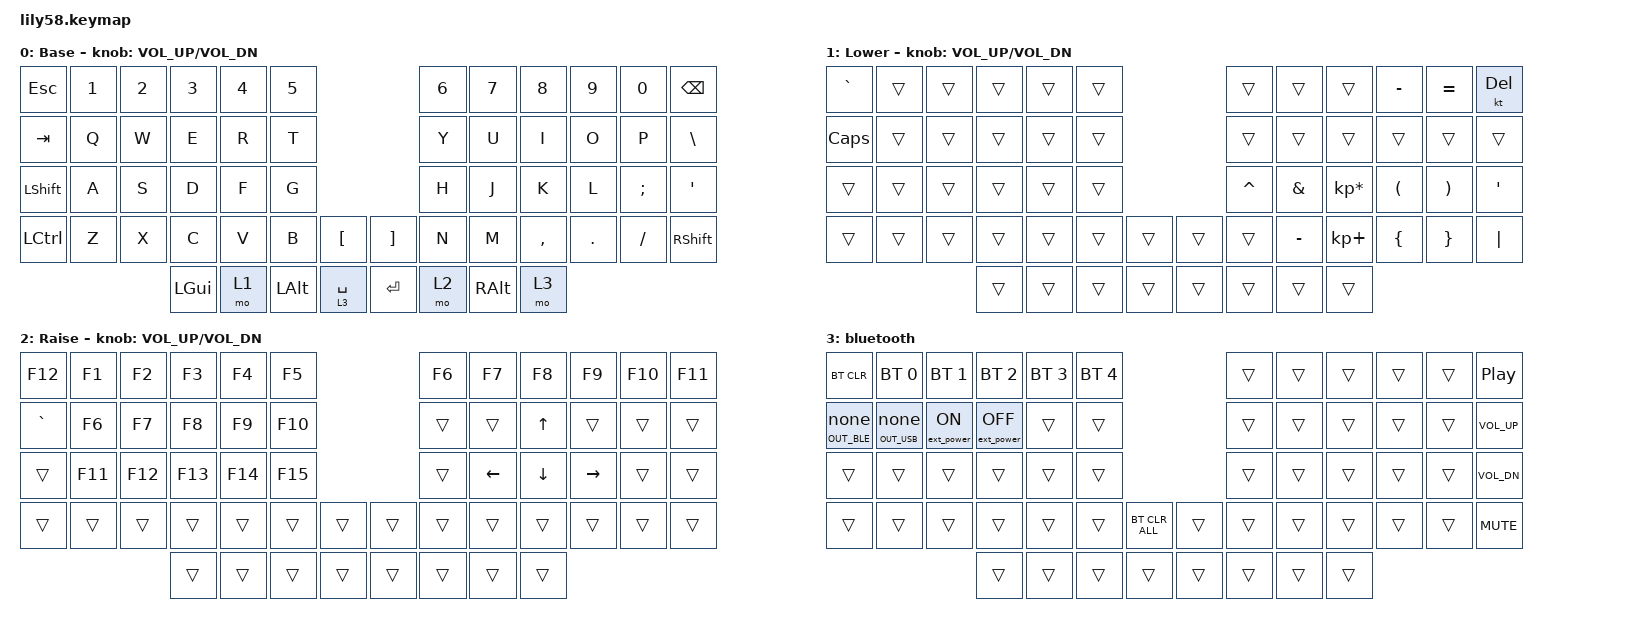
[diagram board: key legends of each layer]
/*
 * Copyright (c) 2020 The ZMK Contributors
 *
 * SPDX-License-Identifier: MIT
 */

#include <behaviors.dtsi>
#include <dt-bindings/zmk/bt.h>
#include <dt-bindings/zmk/ext_power.h>
#include <dt-bindings/zmk/keys.h>
#include <dt-bindings/zmk/keys.h>
#include <dt-bindings/zmk/outputs.h>

/ {
    behaviors {
        Change_Output: Change_Output {
            compatible = "zmk,behavior-hold-tap";
            label = "CHANGE_OUTPUT";
            bindings = <&out>, <&none>;

            #binding-cells = <2>;
            hold-trigger-key-positions = <42 43>;
            tapping-term-ms = <40>;
        };
    };

    keymap {
        compatible = "zmk,keymap";

        default_layer {
            // ------------------------------------------------------------------------------------------------------------
            // |  ESC  |  1  |  2  |  3   |  4   |  5   |                   |  6   |  7    |  8    |  9   |   0   |   `   |
            // |  TAB  |  Q  |  W  |  E   |  R   |  T   |                   |  Y   |  U    |  I    |  O   |   P   |   -   |
            // |  CTRL |  A  |  S  |  D   |  F   |  G   |                   |  H   |  J    |  K    |  L   |   ;   |   '   |
            // | SHIFT |  Z  |  X  |  C   |  V   |  B   |   "["  |  |  "]"  |  N   |  M    |  ,    |  .   |   /   | SHIFT |
            //                     | ALT  | GUI  | LOWER|  SPACE |  | ENTER | RAISE| BSPC  | GUI   |

            display-name = "Base";
            bindings = <
&kp ESCAPE      &kp N1  &kp N2  &kp N3        &kp N4  &kp N5                                 &kp N6  &kp N7         &kp N8     &kp N9   &kp N0    &kp BACKSPACE
&kp TAB         &kp Q   &kp W   &kp E         &kp R   &kp T                                  &kp Y   &kp U          &kp I      &kp O    &kp P     &kp BACKSLASH
&kp LEFT_SHIFT  &kp A   &kp S   &kp D         &kp F   &kp G                                  &kp H   &kp J          &kp K      &kp L    &kp SEMI  &kp APOS
&kp LCTRL       &kp Z   &kp X   &kp C         &kp V   &kp B         &kp LBKT       &kp RBKT  &kp N   &kp M          &kp COMMA  &kp DOT  &kp FSLH  &kp RSHFT
                                &kp LEFT_GUI  &mo 1   &kp LEFT_ALT  &lt 3 SPACE    &kp RET   &mo 2   &kp RIGHT_ALT  &mo 3
            >;

            sensor-bindings = <&inc_dec_kp C_VOL_UP C_VOL_DN>;
        };

        lower_layer {
            // ------------------------------------------------------------------------------------------------------------
            // | BTCLR | BT1 | BT2 |  BT3 |  BT4 |  BT5 |                   |      |       |       |      |       |       |
            // |  F1   |  F2 |  F3 |  F4  |  F5  |  F6  |                   |  F7  |  F8   |  F9   |  F10 |  F11  |  F12  |
            // |   `   |  !  |  @  |  #   |  $   |  %   |                   |  ^   |  &    |  *    |  (   |   )   |   ~   |
            // |       |     |     |      |      |      |        |  |       |      |  _    |  +    |  {   |   }   |  "|"  |
            //                     |      |      |      |        |  |       |      |       |       |

            display-name = "Lower";
            bindings = <
&kp GRAVE     &trans  &trans  &trans  &trans  &trans                    &trans     &trans     &trans           &kp MINUS  &kp EQUAL  &kt DEL
&kp CAPSLOCK  &trans  &trans  &trans  &trans  &trans                    &trans     &trans     &trans           &trans     &trans     &trans
&trans        &trans  &trans  &trans  &trans  &trans                    &kp CARET  &kp AMPS   &kp KP_MULTIPLY  &kp LPAR   &kp RPAR   &kp APOS
&trans        &trans  &trans  &trans  &trans  &trans  &trans    &trans  &trans     &kp MINUS  &kp KP_PLUS      &kp LBRC   &kp RBRC   &kp PIPE
                              &trans  &trans  &trans  &trans    &trans  &trans     &trans     &trans
            >;

            sensor-bindings = <&inc_dec_kp C_VOL_UP C_VOL_DN>;
        };

        raise_layer {
            // ------------------------------------------------------------------------------------------------------------
            // |       |     |     |      |      |      |                   |      |       |       |      |       |       |
            // |   `   |  1  |  2  |  3   |  4   |  5   |                   |  6   |   7   |   8   |  9   |   0   |       |
            // |   F1  |  F2 |  F3 |  F4  |  F5  |  F6  |                   |      |   <-  |   v   |  ^   |  ->   |       |
            // |   F7  |  F8 |  F9 |  F10 |  F11 |  F12 |        |  |       |  +   |   -   |   =   |  [   |   ]   |   \   |
            //                     |      |      |      |        |  |       |      |       |       |

            display-name = "Raise";
            bindings = <
&kp F12    &kp F1   &kp F2   &kp F3   &kp F4   &kp F5                     &kp F6  &kp F7    &kp F8        &kp F9     &kp F10  &kp F11
&kp GRAVE  &kp F6   &kp F7   &kp F8   &kp F9   &kp F10                    &trans  &trans    &kp UP_ARROW  &trans     &trans   &trans
&trans     &kp F11  &kp F12  &kp F13  &kp F14  &kp F15                    &trans  &kp LEFT  &kp DOWN      &kp RIGHT  &trans   &trans
&trans     &trans   &trans   &trans   &trans   &trans   &trans    &trans  &trans  &trans    &trans        &trans     &trans   &trans
                             &trans   &trans   &trans   &trans    &trans  &trans  &trans    &trans
            >;

            sensor-bindings = <&inc_dec_kp C_VOL_UP C_VOL_DN>;
        };

        bluetooth {
            bindings = <
&bt BT_CLR                &bt BT_SEL 0              &bt BT_SEL 1      &bt BT_SEL 2       &bt BT_SEL 3  &bt BT_SEL 4                            &trans  &trans  &trans  &trans  &trans  &kp C_PLAY_PAUSE
&Change_Output OUT_BLE 0  &Change_Output OUT_USB 0  &ext_power EP_ON  &ext_power EP_OFF  &trans        &trans                                  &trans  &trans  &trans  &trans  &trans  &kp C_VOLUME_UP
&trans                    &trans                    &trans            &trans             &trans        &trans                                  &trans  &trans  &trans  &trans  &trans  &kp C_VOL_DN
&trans                    &trans                    &trans            &trans             &trans        &trans        &bt BT_CLR_ALL    &trans  &trans  &trans  &trans  &trans  &trans  &kp K_MUTE
                                                                      &trans             &trans        &trans        &trans            &trans  &trans  &trans  &trans
            >;
        };
    };
};
